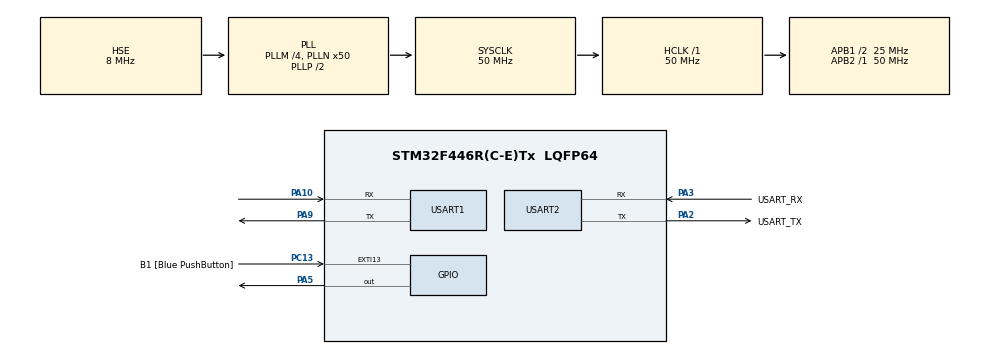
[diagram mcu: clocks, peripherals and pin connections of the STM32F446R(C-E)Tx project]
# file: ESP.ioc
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Mcu.Family=STM32F4
Mcu.Name=STM32F446R(C-E)Tx
Mcu.Package=LQFP64
NVIC.PriorityGroup=NVIC_PRIORITYGROUP_0
NVIC.USART1_IRQn=true\:0\:0\:false\:false\:true\:true\:true\:true
PA10.Mode=Asynchronous
PA10.Signal=USART1_RX
PA13.GPIO_Label=TMS
PA13.Mode=Serial_Wire
PA13.Signal=SYS_JTMS-SWDIO
PA14.GPIO_Label=TCK
PA14.Mode=Serial_Wire
PA14.Signal=SYS_JTCK-SWCLK
PA2.GPIO_Label=USART_TX
PA2.Mode=Asynchronous
PA2.Signal=USART2_TX
PA3.GPIO_Label=USART_RX
PA3.Mode=Asynchronous
PA3.Signal=USART2_RX
PA5.Signal=GPIO_Output
PA9.Mode=Asynchronous
PA9.Signal=USART1_TX
PB3.GPIO_Label=SWO
PB3.Signal=SYS_JTDO-SWO
PC13.GPIO_Label=B1 [Blue PushButton]
PC13.GPIO_ModeDefaultEXTI=GPIO_MODE_IT_FALLING
PC13.Signal=GPXTI13
PC14-OSC32_IN.Mode=LSE-External-Oscillator
PC14-OSC32_IN.Signal=RCC_OSC32_IN
PC15-OSC32_OUT.Mode=LSE-External-Oscillator
PC15-OSC32_OUT.Signal=RCC_OSC32_OUT
PH0-OSC_IN.Mode=HSE-External-Oscillator
PH0-OSC_IN.Signal=RCC_OSC_IN
PH1-OSC_OUT.Mode=HSE-External-Oscillator
PH1-OSC_OUT.Signal=RCC_OSC_OUT
ProjectManager.HeapSize=0x200
ProjectManager.StackSize=0x400
ProjectManager.TargetToolchain=STM32CubeIDE
RCC.48MHZClocksFreq_Value=84000000
RCC.AHBFreq_Value=50000000
RCC.APB1CLKDivider=RCC_HCLK_DIV2
RCC.APB1Freq_Value=25000000
RCC.APB1TimFreq_Value=50000000
RCC.APB2Freq_Value=50000000
RCC.APB2TimFreq_Value=50000000
RCC.CortexFreq_Value=50000000
RCC.FLatency-AdvancedSettings=FLASH_LATENCY_1
RCC.HCLKFreq_Value=50000000
RCC.HSE_VALUE=8000000
RCC.HSI_VALUE=16000000
RCC.PLLM=4
RCC.PLLN=50
RCC.PLLSourceVirtual=RCC_PLLSOURCE_HSE
RCC.SYSCLKFreq_VALUE=50000000
RCC.SYSCLKSource=RCC_SYSCLKSOURCE_PLLCLK
RCC.USBFreq_Value=50000000
RCC.VCOOutputFreq_Value=100000000
USART1.VirtualMode=VM_ASYNC
USART2.VirtualMode=VM_ASYNC
VP_MBEDTLS_VS_MBEDTLS.Mode=Enabled
board=NUCLEO-F446RE

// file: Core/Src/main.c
/* USER CODE BEGIN Header */
/**
  ******************************************************************************
  * @file           : main.c
  * @brief          : Main program body
  ******************************************************************************
  * @attention
  *
  * Copyright (c) 2024 STMicroelectronics.
  * All rights reserved.
  *
  * This software is licensed under terms that can be found in the LICENSE file
  * in the root directory of this software component.
  * If no LICENSE file comes with this software, it is provided AS-IS.
  *
  ******************************************************************************
  */
/* USER CODE END Header */
#include "main.h"
#include "mbedtls.h"

/* USER CODE BEGIN Includes */
#include "stm32f4xx_hal.h"
#include "mbedtls/config.h"
#include "mbedtls/platform.h"
#include "mbedtls/entropy.h"
#include "mbedtls/ctr_drbg.h"
#include "mbedtls/pk.h"
#include "mbedtls/rsa.h"
#include "mbedtls/ecp.h"
#include "mbedtls/error.h"
#include <string.h>
#include "stdio.h"
#include"stm32f4xx.h"
#include "mbedtls/ecdsa.h"
#include "mbedtls/sha256.h"

/* USER CODE END Includes */

/* USER CODE BEGIN PD */
#define MBEDTLS_PEM_WRITE_C
#define MBEDTLS_PK_WRITE_C

/* USER CODE END PD */

 UART_HandleTypeDef huart1;
UART_HandleTypeDef huart2;
// Declare the random number generator context globally
mbedtls_ctr_drbg_context ctr_drbg;
mbedtls_entropy_context entropy;

void SystemClock_Config(void);
static void MX_GPIO_Init(void);
static void MX_USART2_UART_Init(void);
static void MX_USART1_UART_Init(void);
void ESP8266_SendData(char* data);
void init_random_number_generator(void);
void generate_ecc_key_pair(void);
int sign_message (void);
int verify_signature (void);
void display_ecc_key_pair(mbedtls_pk_context *pk);
/* USER CODE BEGIN PFP */

void init_random_number_generator(void) {
    mbedtls_entropy_init(&entropy);
    mbedtls_ctr_drbg_init(&ctr_drbg);

    const char *pers = "ecc_key_generation";  // Personalization string
    if (mbedtls_ctr_drbg_seed(&ctr_drbg, mbedtls_entropy_func, &entropy, (const unsigned char *)pers, strlen(pers)) != 0) {
        // Handle initialization error
        printf("Failed to seed the random number generator");
    }
}

void generate_ecc_key_pair(void) {
    mbedtls_pk_context pk;
    mbedtls_pk_init(&pk);

    // Initialize random number generator
    init_random_number_generator();

    // Generate the ECC key pair
    if (mbedtls_pk_setup(&pk, mbedtls_pk_info_from_type(MBEDTLS_PK_ECKEY)) == 0) {
        if (mbedtls_ecp_gen_key(MBEDTLS_ECP_DP_SECP256R1, mbedtls_pk_ec(pk), mbedtls_ctr_drbg_random, &ctr_drbg) == 0) {
            // Notify successful generation
            char message[] = "ECC key pair generated successfully\n\r";
            HAL_UART_Transmit(&huart2, (uint8_t*)message, strlen(message), HAL_MAX_DELAY);

            // Call display function to transmit the keys via UART
            display_ecc_key_pair(&pk);
        } else {
            // Notify key generation failure
            char message[] = "Failed to generate ECC key pair\n\r";
            HAL_UART_Transmit(&huart2, (uint8_t*)message, strlen(message), HAL_MAX_DELAY);
        }
    } else {
        // Notify PK context setup failure
        char message[] = "Failed to setup PK context for ECC\n\r";
        HAL_UART_Transmit(&huart2, (uint8_t*)message, strlen(message), HAL_MAX_DELAY);
    }

    mbedtls_pk_free(&pk);  // Free the context after use
}

void display_ecc_key_pair(mbedtls_pk_context *pk) {
    unsigned char buf[500];
    size_t len;

    // Display the public key
    len = mbedtls_pk_write_pubkey_pem(pk, buf, 40);
    if (len > 0) {
        char message[] = "Public Key:\n\r";
        HAL_UART_Transmit(&huart2, (uint8_t*)message, 50, 1000);
        HAL_UART_Transmit(&huart2, buf, strlen((char*)buf), 1000);
    } else {
        char message[] = "Failed to extract public key\n\r";
        HAL_UART_Transmit(&huart2, (uint8_t*)message, strlen(message), 1000);
    }

    // Display the private key
    len = mbedtls_pk_write_key_pem(pk, buf, 40);
    if (len > 0) {
        char message[] = "Private Key:\n\r";
        HAL_UART_Transmit(&huart2, (uint8_t*)message, 50, 1000);
        HAL_UART_Transmit(&huart2, buf, strlen((char*)buf), 1000);
    } else {
        char message[] = "Failed to extract private key\n\r";
        HAL_UART_Transmit(&huart2, (uint8_t*)message,50 , 1000);
    }
}

/* USER CODE END PFP */

int main(void)
{

  /* MCU Configuration--------------------------------------------------------*/

  /* Reset of all peripherals, Initializes the Flash interface and the Systick. */
  HAL_Init();

  /* Configure the system clock */
  SystemClock_Config();

  /* Initialize all configured peripherals */
  MX_GPIO_Init();
  MX_USART2_UART_Init();
  MX_USART1_UART_Init();
  MX_MBEDTLS_Init();
  /* USER CODE BEGIN 2 */

  // Generate ECC key pair
     generate_ecc_key_pair();
  /* USER CODE END 2 */

  /* Infinite loop */
  while (1)
  {
	  generate_ecc_key_pair();
	  HAL_Delay(1000);

  }
  /* USER CODE END 3 */
}

void SystemClock_Config(void)
{
  RCC_OscInitTypeDef RCC_OscInitStruct = {0};
  RCC_ClkInitTypeDef RCC_ClkInitStruct = {0};

  /** Configure the main internal regulator output voltage
  */
  __HAL_RCC_PWR_CLK_ENABLE();
  __HAL_PWR_VOLTAGESCALING_CONFIG(PWR_REGULATOR_VOLTAGE_SCALE3);

  /** Initializes the RCC Oscillators according to the specified parameters
  * in the RCC_OscInitTypeDef structure.
  */
  RCC_OscInitStruct.OscillatorType = RCC_OSCILLATORTYPE_HSE;
  RCC_OscInitStruct.HSEState = RCC_HSE_ON;
  RCC_OscInitStruct.PLL.PLLState = RCC_PLL_ON;
  RCC_OscInitStruct.PLL.PLLSource = RCC_PLLSOURCE_HSE;
  RCC_OscInitStruct.PLL.PLLM = 4;
  RCC_OscInitStruct.PLL.PLLN = 50;
  RCC_OscInitStruct.PLL.PLLP = RCC_PLLP_DIV2;
  RCC_OscInitStruct.PLL.PLLQ = 2;
  RCC_OscInitStruct.PLL.PLLR = 2;
  if (HAL_RCC_OscConfig(&RCC_OscInitStruct) != HAL_OK)
  {
    Error_Handler();
  }

  /** Initializes the CPU, AHB and APB buses clocks
  */
  RCC_ClkInitStruct.ClockType = RCC_CLOCKTYPE_HCLK|RCC_CLOCKTYPE_SYSCLK
                              |RCC_CLOCKTYPE_PCLK1|RCC_CLOCKTYPE_PCLK2;
  RCC_ClkInitStruct.SYSCLKSource = RCC_SYSCLKSOURCE_PLLCLK;
  RCC_ClkInitStruct.AHBCLKDivider = RCC_SYSCLK_DIV1;
  RCC_ClkInitStruct.APB1CLKDivider = RCC_HCLK_DIV2;
  RCC_ClkInitStruct.APB2CLKDivider = RCC_HCLK_DIV1;

  if (HAL_RCC_ClockConfig(&RCC_ClkInitStruct, FLASH_LATENCY_1) != HAL_OK)
  {
    Error_Handler();
  }
}

static void MX_USART1_UART_Init(void)
{

  huart1.Instance = USART1;
  huart1.Init.BaudRate = 115200;
  huart1.Init.WordLength = UART_WORDLENGTH_8B;
  huart1.Init.StopBits = UART_STOPBITS_1;
  huart1.Init.Parity = UART_PARITY_NONE;
  huart1.Init.Mode = UART_MODE_TX_RX;
  huart1.Init.HwFlowCtl = UART_HWCONTROL_NONE;
  huart1.Init.OverSampling = UART_OVERSAMPLING_16;
  if (HAL_UART_Init(&huart1) != HAL_OK)
  {
    Error_Handler();
  }

}

static void MX_USART2_UART_Init(void)
{

  huart2.Instance = USART2;
  huart2.Init.BaudRate = 115200;
  huart2.Init.WordLength = UART_WORDLENGTH_8B;
  huart2.Init.StopBits = UART_STOPBITS_1;
  huart2.Init.Parity = UART_PARITY_NONE;
  huart2.Init.Mode = UART_MODE_TX_RX;
  huart2.Init.HwFlowCtl = UART_HWCONTROL_NONE;
  huart2.Init.OverSampling = UART_OVERSAMPLING_16;
  if (HAL_UART_Init(&huart2) != HAL_OK)
  {
    Error_Handler();
  }

}

static void MX_GPIO_Init(void)
{
  GPIO_InitTypeDef GPIO_InitStruct = {0};

  /* GPIO Ports Clock Enable */
  __HAL_RCC_GPIOC_CLK_ENABLE();
  __HAL_RCC_GPIOH_CLK_ENABLE();
  __HAL_RCC_GPIOA_CLK_ENABLE();
  __HAL_RCC_GPIOB_CLK_ENABLE();

  /*Configure GPIO pin Output Level */
  HAL_GPIO_WritePin(GPIOA, GPIO_PIN_5, GPIO_PIN_RESET);

  /*Configure GPIO pin : B1_Pin */
  GPIO_InitStruct.Pin = B1_Pin;
  GPIO_InitStruct.Mode = GPIO_MODE_IT_FALLING;
  GPIO_InitStruct.Pull = GPIO_NOPULL;
  HAL_GPIO_Init(B1_GPIO_Port, &GPIO_InitStruct);

  /*Configure GPIO pin : PA5 */
  GPIO_InitStruct.Pin = GPIO_PIN_5;
  GPIO_InitStruct.Mode = GPIO_MODE_OUTPUT_PP;
  GPIO_InitStruct.Pull = GPIO_NOPULL;
  GPIO_InitStruct.Speed = GPIO_SPEED_FREQ_LOW;
  HAL_GPIO_Init(GPIOA, &GPIO_InitStruct);

}

void Error_Handler(void)
{
  __disable_irq();
  while (1)
  {
  }
}
